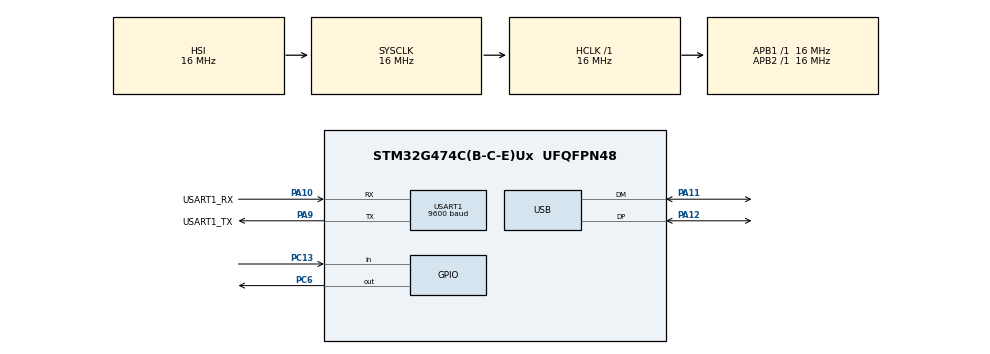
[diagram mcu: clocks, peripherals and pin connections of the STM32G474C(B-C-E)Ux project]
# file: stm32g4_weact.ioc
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Mcu.Family=STM32G4
Mcu.Name=STM32G474C(B-C-E)Ux
Mcu.Package=UFQFPN48
NVIC.PriorityGroup=NVIC_PRIORITYGROUP_4
NVIC.USB_LP_IRQn=true\:0\:0\:false\:false\:true\:false\:true\:true
PA10.GPIO_Label=USART1_RX
PA10.GPIO_Speed=GPIO_SPEED_FREQ_HIGH
PA10.Mode=Asynchronous
PA10.Signal=USART1_RX
PA11.Mode=Device
PA11.Signal=USB_DM
PA12.Mode=Device
PA12.Signal=USB_DP
PA9.GPIO_Label=USART1_TX
PA9.GPIO_Speed=GPIO_SPEED_FREQ_HIGH
PA9.Mode=Asynchronous
PA9.Signal=USART1_TX
PC13.GPIO_PuPd=GPIO_PULLDOWN
PC13.Signal=GPIO_Input
PC6.Signal=GPIO_Output
ProjectManager.HeapSize=0x200
ProjectManager.StackSize=0x400
ProjectManager.TargetToolchain=CMake
RCC.AHBFreq_Value=16000000
RCC.APB1Freq_Value=16000000
RCC.APB1TimFreq_Value=16000000
RCC.APB2Freq_Value=16000000
RCC.APB2TimFreq_Value=16000000
RCC.CortexFreq_Value=16000000
RCC.EXTERNAL_CLOCK_VALUE=12288000
RCC.HCLKFreq_Value=16000000
RCC.HSE_VALUE=8000000
RCC.HSI48_VALUE=48000000
RCC.HSI_VALUE=16000000
RCC.LSE_VALUE=32768
RCC.PLLN=12
RCC.PLLQ=RCC_PLLQ_DIV4
RCC.SYSCLKFreq_VALUE=16000000
RCC.USBFreq_Value=48000000
RCC.VCOOutputFreq_Value=192000000
USART1.BaudRate=9600
USART1.VirtualMode-Asynchronous=VM_ASYNC
USB_DEVICE.CLASS_NAME_FS=CDC
USB_DEVICE.MANUFACTURER_STRING=rAD
USB_DEVICE.VirtualMode=Cdc
USB_DEVICE.VirtualModeFS=Cdc_FS
VP_SYS_VS_DBSignals.Mode=DisableDeadBatterySignals
VP_USB_DEVICE_VS_USB_DEVICE_CDC_FS.Mode=CDC_FS
board=custom

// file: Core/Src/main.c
/* USER CODE BEGIN Header */
/**
  ******************************************************************************
  * @file           : main.c
  * @brief          : Main program body
  ******************************************************************************
  * @attention
  *
  * Copyright (c) 2026 STMicroelectronics.
  * All rights reserved.
  *
  * This software is licensed under terms that can be found in the LICENSE file
  * in the root directory of this software component.
  * If no LICENSE file comes with this software, it is provided AS-IS.
  *
  ******************************************************************************
  */
/* USER CODE END Header */
#include "main.h"
#include "stm32g4xx_hal_uart.h"
#include "usb_device.h"

/* USER CODE BEGIN Includes */
#include "usbd_cdc_if.h"
#include "string.h"
#include <stdint.h>
/* USER CODE END Includes */

/* USER CODE BEGIN PD */
#define LED_toggle HAL_GPIO_TogglePin(GPIOC, GPIO_PIN_6)
#define LED(x) HAL_GPIO_WritePin(GPIOC, GPIO_PIN_6,x)
#define ON 1
#define OFF
#define BTN HAL_GPIO_ReadPin(GPIOC, GPIO_PIN_13)
/* USER CODE END PD */

UART_HandleTypeDef huart1;

void SystemClock_Config(void);
static void MX_GPIO_Init(void);
static void MX_USART1_UART_Init(void);

/* USER CODE BEGIN 0 */
uint8_t *data = "Hi from SFTM32G4!\n";
uint8_t *uart_tx_buff="#1234";
uint8_t uart_rx_buff[10];

/* USER CODE END 0 */

int main(void)
{

  /* MCU Configuration--------------------------------------------------------*/

  /* Reset of all peripherals, Initializes the Flash interface and the Systick. */
  HAL_Init();

  /* Configure the system clock */
  SystemClock_Config();

  /* Initialize all configured peripherals */
  MX_GPIO_Init();
  MX_USB_Device_Init();
  MX_USART1_UART_Init();

  /* Infinite loop */
  /* USER CODE BEGIN WHILE */
  while (1)
  {

    if (BTN) {
      LED_toggle;
      CDC_Transmit_FS(data, strlen(data));
      HAL_Delay(500);
      CDC_Transmit_FS(USB_RxData,  64);
      HAL_UART_Transmit(&huart1, USB_RxData, 5, 100);
    }

    /* USER CODE END WHILE */

  }
}

void SystemClock_Config(void)
{
  RCC_OscInitTypeDef RCC_OscInitStruct = {0};
  RCC_ClkInitTypeDef RCC_ClkInitStruct = {0};

  /** Configure the main internal regulator output voltage
  */
  HAL_PWREx_ControlVoltageScaling(PWR_REGULATOR_VOLTAGE_SCALE1);

  /** Initializes the RCC Oscillators according to the specified parameters
  * in the RCC_OscInitTypeDef structure.
  */
  RCC_OscInitStruct.OscillatorType = RCC_OSCILLATORTYPE_HSI;
  RCC_OscInitStruct.HSIState = RCC_HSI_ON;
  RCC_OscInitStruct.HSICalibrationValue = RCC_HSICALIBRATION_DEFAULT;
  RCC_OscInitStruct.PLL.PLLState = RCC_PLL_ON;
  RCC_OscInitStruct.PLL.PLLSource = RCC_PLLSOURCE_HSI;
  RCC_OscInitStruct.PLL.PLLM = RCC_PLLM_DIV1;
  RCC_OscInitStruct.PLL.PLLN = 12;
  RCC_OscInitStruct.PLL.PLLP = RCC_PLLP_DIV2;
  RCC_OscInitStruct.PLL.PLLQ = RCC_PLLQ_DIV4;
  RCC_OscInitStruct.PLL.PLLR = RCC_PLLR_DIV2;
  if (HAL_RCC_OscConfig(&RCC_OscInitStruct) != HAL_OK)
  {
    Error_Handler();
  }

  /** Initializes the CPU, AHB and APB buses clocks
  */
  RCC_ClkInitStruct.ClockType = RCC_CLOCKTYPE_HCLK|RCC_CLOCKTYPE_SYSCLK
                              |RCC_CLOCKTYPE_PCLK1|RCC_CLOCKTYPE_PCLK2;
  RCC_ClkInitStruct.SYSCLKSource = RCC_SYSCLKSOURCE_HSI;
  RCC_ClkInitStruct.AHBCLKDivider = RCC_SYSCLK_DIV1;
  RCC_ClkInitStruct.APB1CLKDivider = RCC_HCLK_DIV1;
  RCC_ClkInitStruct.APB2CLKDivider = RCC_HCLK_DIV1;

  if (HAL_RCC_ClockConfig(&RCC_ClkInitStruct, FLASH_LATENCY_0) != HAL_OK)
  {
    Error_Handler();
  }
}

static void MX_USART1_UART_Init(void)
{

  huart1.Instance = USART1;
  huart1.Init.BaudRate = 9600;
  huart1.Init.WordLength = UART_WORDLENGTH_8B;
  huart1.Init.StopBits = UART_STOPBITS_1;
  huart1.Init.Parity = UART_PARITY_NONE;
  huart1.Init.Mode = UART_MODE_TX_RX;
  huart1.Init.HwFlowCtl = UART_HWCONTROL_NONE;
  huart1.Init.OverSampling = UART_OVERSAMPLING_16;
  huart1.Init.OneBitSampling = UART_ONE_BIT_SAMPLE_DISABLE;
  huart1.Init.ClockPrescaler = UART_PRESCALER_DIV1;
  huart1.AdvancedInit.AdvFeatureInit = UART_ADVFEATURE_NO_INIT;
  if (HAL_UART_Init(&huart1) != HAL_OK)
  {
    Error_Handler();
  }
  if (HAL_UARTEx_SetTxFifoThreshold(&huart1, UART_TXFIFO_THRESHOLD_1_8) != HAL_OK)
  {
    Error_Handler();
  }
  if (HAL_UARTEx_SetRxFifoThreshold(&huart1, UART_RXFIFO_THRESHOLD_1_8) != HAL_OK)
  {
    Error_Handler();
  }
  if (HAL_UARTEx_DisableFifoMode(&huart1) != HAL_OK)
  {
    Error_Handler();
  }

}

static void MX_GPIO_Init(void)
{
  GPIO_InitTypeDef GPIO_InitStruct = {0};

  /* GPIO Ports Clock Enable */
  __HAL_RCC_GPIOC_CLK_ENABLE();
  __HAL_RCC_GPIOA_CLK_ENABLE();

  /*Configure GPIO pin Output Level */
  HAL_GPIO_WritePin(GPIOC, GPIO_PIN_6, GPIO_PIN_RESET);

  /*Configure GPIO pin : PC13 */
  GPIO_InitStruct.Pin = GPIO_PIN_13;
  GPIO_InitStruct.Mode = GPIO_MODE_INPUT;
  GPIO_InitStruct.Pull = GPIO_PULLDOWN;
  HAL_GPIO_Init(GPIOC, &GPIO_InitStruct);

  /*Configure GPIO pin : PC6 */
  GPIO_InitStruct.Pin = GPIO_PIN_6;
  GPIO_InitStruct.Mode = GPIO_MODE_OUTPUT_PP;
  GPIO_InitStruct.Pull = GPIO_NOPULL;
  GPIO_InitStruct.Speed = GPIO_SPEED_FREQ_LOW;
  HAL_GPIO_Init(GPIOC, &GPIO_InitStruct);

}

void Error_Handler(void)
{
  __disable_irq();
  while (1)
  {
  }
}
